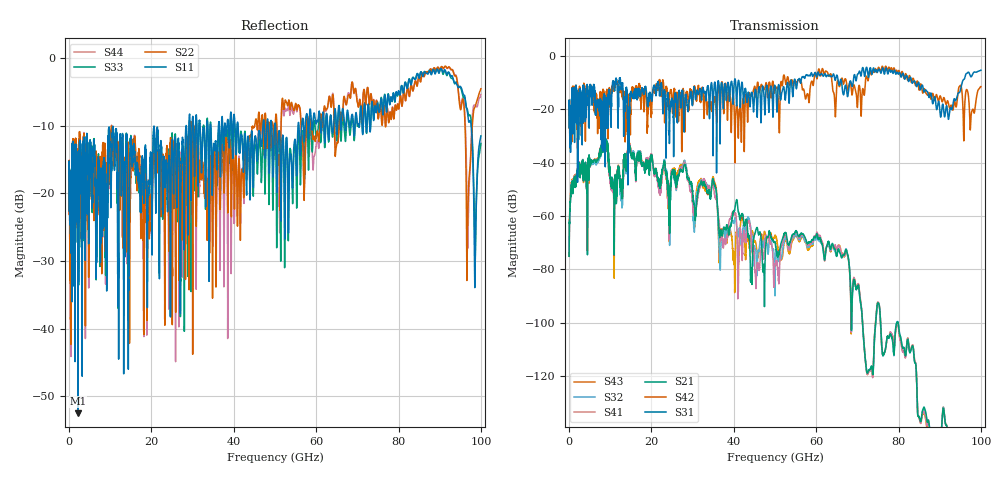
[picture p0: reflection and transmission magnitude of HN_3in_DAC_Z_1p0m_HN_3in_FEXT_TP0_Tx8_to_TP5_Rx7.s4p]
# GHz S RI R 45
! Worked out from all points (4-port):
!   4000 points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, 25 MHz to 100 GHz, reference 45 ohm
!   strongest paths, dB at 25 MHz, 25.02 GHz, 50.02 GHz, 75.03 GHz, 100 GHz:
!     S31: -18.6, -16.5, -11.2, -5.4, -5.4
!     S42: -18.6, -16.6, -12.4, -4.6, -11.5
!     S21: -75.1, -43.5, -69.9, -92.5, -
!     S41: -74.6, -42.8, -78.1, -92.2, -
!     S32: -74.8, -43.6, -84.4, -92.5, -
!     S43: -75.0, -42.7, -67.3, -92.3, -
!   lowest |S11| = -52.5 dB at 2.175 GHz (marker M1), VSWR 1.00, Z = 44.8 + j0.0784 ohm
!   |S11| at or under -10 dB: start of sweep to 28.44 GHz; 41.04 GHz to 47.09 GHz (6.054 GHz wide, 13.7 % of centre); 50.14 GHz to 55.61 GHz (5.463 GHz wide, 10.3 % of centre)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
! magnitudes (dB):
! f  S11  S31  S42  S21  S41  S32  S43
! 25 MHz  -16.4  -18.6  -18.6  -75.1  -74.6  -74.8  -75.0
! 2.175 GHz  -52.5  -28.5  -26.7  -42.7  -42.1  -42.3  -42.4
! 28 GHz  -23.8  -25.4  -19.7  -40.7  -39.8  -39.1  -39.2
! 45.58 GHz  -13.8  -18.5  -12.6  -64.4  -79.6  -81.3  -72.4
! 91.97 GHz  -2.2  -22.3  -17.0  -143.7  -143.6  -143.5  -143.4
! 96.9 GHz  -8.9  -6.1  -14.2  -177.4  -179.8  -176.2  -179.0
! 100 GHz  -11.5  -5.4  -11.5  -  -  -  -
